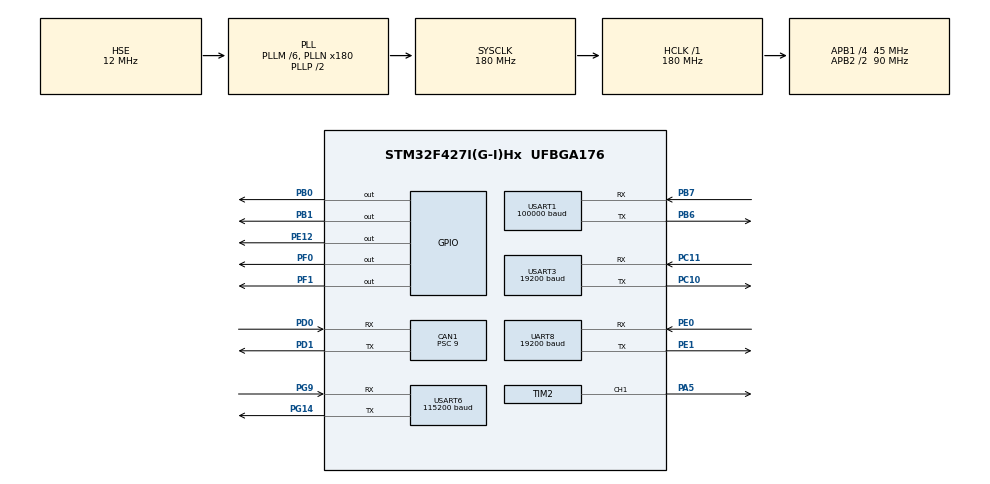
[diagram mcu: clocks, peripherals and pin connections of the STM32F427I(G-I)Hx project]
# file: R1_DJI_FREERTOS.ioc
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CAN1.BS1=CAN_BS1_3TQ
CAN1.CalculateBaudRate=1000000
CAN1.CalculateTimeBit=1000
CAN1.CalculateTimeQuantum=200.0
CAN1.Prescaler=9
Dma.Request0=USART1_RX
Dma.Request1=USART6_RX
Dma.Request2=USART3_RX
Dma.Request3=UART8_RX
Dma.UART8_RX.3.Direction=DMA_PERIPH_TO_MEMORY
Dma.UART8_RX.3.FIFOMode=DMA_FIFOMODE_DISABLE
Dma.UART8_RX.3.Instance=DMA1_Stream6
Dma.UART8_RX.3.MemDataAlignment=DMA_MDATAALIGN_BYTE
Dma.UART8_RX.3.MemInc=DMA_MINC_ENABLE
Dma.UART8_RX.3.Mode=DMA_CIRCULAR
Dma.UART8_RX.3.PeriphDataAlignment=DMA_PDATAALIGN_BYTE
Dma.UART8_RX.3.PeriphInc=DMA_PINC_DISABLE
Dma.UART8_RX.3.Priority=DMA_PRIORITY_LOW
Dma.USART1_RX.0.Direction=DMA_PERIPH_TO_MEMORY
Dma.USART1_RX.0.FIFOMode=DMA_FIFOMODE_DISABLE
Dma.USART1_RX.0.Instance=DMA2_Stream2
Dma.USART1_RX.0.MemDataAlignment=DMA_MDATAALIGN_BYTE
Dma.USART1_RX.0.MemInc=DMA_MINC_ENABLE
Dma.USART1_RX.0.Mode=DMA_CIRCULAR
Dma.USART1_RX.0.PeriphDataAlignment=DMA_PDATAALIGN_BYTE
Dma.USART1_RX.0.PeriphInc=DMA_PINC_DISABLE
Dma.USART1_RX.0.Priority=DMA_PRIORITY_LOW
Dma.USART3_RX.2.Direction=DMA_PERIPH_TO_MEMORY
Dma.USART3_RX.2.FIFOMode=DMA_FIFOMODE_DISABLE
Dma.USART3_RX.2.Instance=DMA1_Stream1
Dma.USART3_RX.2.MemDataAlignment=DMA_MDATAALIGN_BYTE
Dma.USART3_RX.2.MemInc=DMA_MINC_ENABLE
Dma.USART3_RX.2.Mode=DMA_CIRCULAR
Dma.USART3_RX.2.PeriphDataAlignment=DMA_PDATAALIGN_BYTE
Dma.USART3_RX.2.PeriphInc=DMA_PINC_DISABLE
Dma.USART3_RX.2.Priority=DMA_PRIORITY_LOW
Dma.USART6_RX.1.Direction=DMA_PERIPH_TO_MEMORY
Dma.USART6_RX.1.FIFOMode=DMA_FIFOMODE_DISABLE
Dma.USART6_RX.1.Instance=DMA2_Stream1
Dma.USART6_RX.1.MemDataAlignment=DMA_MDATAALIGN_BYTE
Dma.USART6_RX.1.MemInc=DMA_MINC_ENABLE
Dma.USART6_RX.1.Mode=DMA_CIRCULAR
Dma.USART6_RX.1.PeriphDataAlignment=DMA_PDATAALIGN_BYTE
Dma.USART6_RX.1.PeriphInc=DMA_PINC_DISABLE
Dma.USART6_RX.1.Priority=DMA_PRIORITY_LOW
Mcu.Family=STM32F4
Mcu.Name=STM32F427I(G-I)Hx
Mcu.Package=UFBGA176
NVIC.CAN1_RX0_IRQn=true\:0\:0\:false\:false\:true\:true\:true\:true
NVIC.DMA1_Stream1_IRQn=true\:0\:0\:false\:false\:true\:false\:true\:true
NVIC.DMA1_Stream6_IRQn=true\:0\:0\:false\:false\:true\:false\:true\:true
NVIC.DMA2_Stream1_IRQn=true\:0\:0\:false\:false\:true\:false\:true\:true
NVIC.DMA2_Stream2_IRQn=true\:0\:0\:false\:false\:true\:false\:true\:true
NVIC.PriorityGroup=NVIC_PRIORITYGROUP_4
NVIC.TIM2_IRQn=true\:0\:0\:false\:false\:true\:true\:true\:true
NVIC.TIM3_IRQn=true\:0\:0\:false\:false\:true\:true\:true\:true
PA13.Mode=Serial_Wire
PA13.Signal=SYS_JTMS-SWDIO
PA14.Mode=Serial_Wire
PA14.Signal=SYS_JTCK-SWCLK
PA5.Signal=S_TIM2_CH1_ETR
PB0.GPIO_PuPd=GPIO_NOPULL
PB0.Signal=GPIO_Output
PB1.Signal=GPIO_Output
PB6.Mode=Asynchronous
PB6.Signal=USART1_TX
PB7.Mode=Asynchronous
PB7.Signal=USART1_RX
PC10.Mode=Asynchronous
PC10.Signal=USART3_TX
PC11.Mode=Asynchronous
PC11.Signal=USART3_RX
PD0.Mode=CAN_Activate
PD0.Signal=CAN1_RX
PD1.Mode=CAN_Activate
PD1.Signal=CAN1_TX
PE0.Mode=Asynchronous
PE0.Signal=UART8_RX
PE1.Mode=Asynchronous
PE1.Signal=UART8_TX
PE12.PinState=GPIO_PIN_SET
PE12.Signal=GPIO_Output
PF0.Signal=GPIO_Output
PF1.Signal=GPIO_Output
PG14.Mode=Asynchronous
PG14.Signal=USART6_TX
PG9.Mode=Asynchronous
PG9.Signal=USART6_RX
PH0/OSC_IN.Mode=HSE-External-Oscillator
PH0/OSC_IN.Signal=RCC_OSC_IN
PH1/OSC_OUT.Mode=HSE-External-Oscillator
PH1/OSC_OUT.Signal=RCC_OSC_OUT
ProjectManager.HeapSize=0x200
ProjectManager.StackSize=0x400
ProjectManager.TargetToolchain=MDK-ARM V5.27
RCC.48MHZClocksFreq_Value=90000000
RCC.AHBFreq_Value=180000000
RCC.APB1CLKDivider=RCC_HCLK_DIV4
RCC.APB1Freq_Value=45000000
RCC.APB1TimFreq_Value=90000000
RCC.APB2CLKDivider=RCC_HCLK_DIV2
RCC.APB2Freq_Value=90000000
RCC.APB2TimFreq_Value=180000000
RCC.CortexFreq_Value=180000000
RCC.HCLKFreq_Value=180000000
RCC.HSE_VALUE=12000000
RCC.HSI_VALUE=16000000
RCC.LSE_VALUE=32768
RCC.PLLM=6
RCC.PLLN=180
RCC.PLLSourceVirtual=RCC_PLLSOURCE_HSE
RCC.SYSCLKFreq_VALUE=180000000
RCC.SYSCLKSource=RCC_SYSCLKSOURCE_PLLCLK
RCC.VCOOutputFreq_Value=360000000
SH.S_TIM2_CH1_ETR.0=TIM2_CH1,PWM Generation1 CH1
TIM2.AutoReloadPreload=TIM_AUTORELOAD_PRELOAD_ENABLE
TIM2.Channel-PWM\ Generation1\ CH1=TIM_CHANNEL_1
TIM2.Period=1000-1
TIM2.Prescaler=90-1
TIM2.Pulse-PWM\ Generation1\ CH1=500-1
TIM3.AutoReloadPreload=TIM_AUTORELOAD_PRELOAD_ENABLE
TIM3.Period=1000-1
TIM3.Prescaler=90-1
UART8.BaudRate=19200
UART8.VirtualMode=Asynchronous
USART1.BaudRate=100000
USART1.VirtualMode=VM_ASYNC
USART3.BaudRate=19200
USART3.VirtualMode=VM_ASYNC
USART6.BaudRate=115200
USART6.VirtualMode=VM_ASYNC
VP_TIM2_VS_ClockSourceINT.Mode=Internal
VP_TIM3_VS_ClockSourceINT.Mode=Internal
board=custom

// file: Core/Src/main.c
/* USER CODE BEGIN Header */
/**
  ******************************************************************************
  * @file           : main.c
  * @brief          : Main program body
  ******************************************************************************
  * @attention
  *
  * <h2><center>&copy; Copyright (c) 2022 STMicroelectronics.
  * All rights reserved.</center></h2>
  *
  * This software component is licensed by ST under BSD 3-Clause license,
  * the "License"; You may not use this file except in compliance with the
  * License. You may obtain a copy of the License at:
  *                        opensource.org/licenses/BSD-3-Clause
  *
  ******************************************************************************
  */
/* USER CODE END Header */
#include "main.h"
#include "can.h"
#include "dma.h"
#include "tim.h"
#include "usart.h"
#include "gpio.h"

/* USER CODE BEGIN Includes */
#include "Caculate.h"
#include "DJI.h"
#include "wtr_can.h"
#include "wtr_uart.h"
#include "nrf_com.h"
#include "RS485.h"
#include "main.h"
#include <math.h>
/* USER CODE END Includes */

/* USER CODE BEGIN PV */

int ifRecv_dji = 0;
int ifRecv_RS485 = 0;
int ifRecv_DiPan = 0;

int pwm_init = 800;

float speed = 0;
float pitch_init = 0;
float yaw_init = 0;
float fetch = 0;

float pianhang_state_zone[26] = {46.8495,-5,0,2,0,5,0,0,0,0,0,0,0,0,0,0,0,0,0,0,0,0,0,0,0,45.8495};
float yangjiao_state_zone[26] = {1,8,0,1,0,1,0,0,0,0,0,0,0,0,0,0,0,0,0,0,0,0,0,0,0,11.2};
float sheqiu_servo_zone[26]  =  {785,785,790,790,790,790,790,790,790,790,790,790,790,790,790,790,790,790,790,790,790,790,790,790,790,790};
float mocalun_speed_zone[26] =  {5000,5000,5000,5000,5000,5000,5000,5000,5000,5000,5000,5000,5000,5000,5000,5000,5000,5000,5000,5000,5000,5000,5000,5000,5000,5000};

float fetch_state = 0;
float mocalun_state = 0;

uint32_t time = 0;
uint32_t enter_time = 0;

//parameters for sheqiu
uint32_t sj_time = 300;
uint32_t zz_time = 1000;
uint32_t waiting_time = 1000;

//parameter for quqiu
uint32_t sj_time_1 = 1500;
uint32_t zz_time_1 = 1000;
uint32_t waiting_time_1 = 800;
float close_speed_1 = -150;
float open_speed_1 = 180;

float open_pos = 22;
float close_pos = -12;

uint32_t rs_decode_strart = 0;

char flag = 0;
uint32_t state = 0;
uint32_t last_state = 0;
/* USER CODE END PV */

void SystemClock_Config(void);

/* USER CODE BEGIN 0 */
void zz_sj_servo(float ref_rs_decode);
/* USER CODE END 0 */

int main(void)
{

  /* MCU Configuration--------------------------------------------------------*/

  /* Reset of all peripherals, Initializes the Flash interface and the Systick. */
  HAL_Init();

  /* Configure the system clock */
  SystemClock_Config();

  /* Initialize all configured peripherals */
  MX_GPIO_Init();
  MX_DMA_Init();
  MX_CAN1_Init();
  MX_USART1_UART_Init();
  MX_USART6_UART_Init();
  MX_TIM2_Init();
  MX_TIM3_Init();
  MX_USART3_UART_Init();
  MX_UART8_Init();
  /* USER CODE BEGIN 2 */
 CANFilterInit(&hcan1);

	hDJI[0].motorType = M3508;
	hDJI[1].motorType = M3508;
	hDJI[2].motorType = M3508;
	hDJI[3].motorType = M3508;
	hDJI[4].motorType = M3508;
	hDJI[5].motorType = M3508;
	hDJI[6].motorType = M2006;
	hDJI[7].motorType = M3508;

	DJI_Init();

  HAL_UART_Receive_DMA(&huart1,JoyStickReceiveData,18);

	nrf_receive_init();

	HAL_TIM_Base_Start_IT(&htim2);
	HAL_TIM_Base_Start_IT(&htim3);

	HAL_TIM_PWM_Start(&htim2,TIM_CHANNEL_1);
	__HAL_TIM_SetCompare(&htim2, TIM_CHANNEL_1, pwm_init);

	HAL_GPIO_WritePin(GPIOE,GPIO_PIN_12,GPIO_PIN_SET);

  RS485_init();
  /* USER CODE END 2 */

  /* Infinite loop */
  /* USER CODE BEGIN WHILE */
    while (1)
  {
		while(ifRecv_dji==0)
    {
    }
		if(state == 0)
		{
     	if((Raw_Data.ch2-1024)>100) pitch_init += 0.05f;/*==================================================================*/
			if((Raw_Data.ch2-1024)<-100) pitch_init -= 0.05f;/*==================================================================*/
			if((Raw_Data.ch3-1024)>100) yaw_init -= 0.1f;/*==================================================================*/
			if((Raw_Data.ch3-1024)<-100) yaw_init += 0.1f;/*==================================================================*/

			if((Raw_Data.ch0-1024)>100)
			{
				fetch = 150;/*==================================================================*/
				speedServo(fetch,&hDJI[4]);
			}
				else if((Raw_Data.ch0-1024)<-100)
			{
				fetch = -150;/*==================================================================*/
				speedServo(fetch,&hDJI[4]);
			}
			else
			{
				fetch = 0;/*==================================================================*/
				speedServo(fetch,&hDJI[4]);
			}

			if((Raw_Data.ch1-1024)>100)
			{
				HAL_GPIO_WritePin(GPIOB,GPIO_PIN_0,GPIO_PIN_RESET);
				HAL_GPIO_WritePin(GPIOB,GPIO_PIN_1,GPIO_PIN_SET);
			}
			else if((Raw_Data.ch1-1024)<-100)
			{
				HAL_GPIO_WritePin(GPIOB,GPIO_PIN_0,GPIO_PIN_SET);
				HAL_GPIO_WritePin(GPIOB,GPIO_PIN_1,GPIO_PIN_RESET);
			}
			else
			{
				HAL_GPIO_WritePin(GPIOB,GPIO_PIN_0,GPIO_PIN_RESET);
				HAL_GPIO_WritePin(GPIOB,GPIO_PIN_1,GPIO_PIN_RESET);
			}

			positionServo(yaw_init,&hDJI[5]);
			positionServo(pitch_init,&hDJI[6]);

			if(Raw_Data.right == 1) speed = 5000;
			else speed = 0;

			speedServo(speed,&hDJI[0]);
			speedServo(speed,&hDJI[1]);
			speedServo(-speed,&hDJI[2]);
			speedServo(-speed,&hDJI[3]);
		}
    //执行射球
    else if(state == 2){
			speedServo(mocalun_state,&hDJI[0]);
			speedServo(mocalun_state,&hDJI[1]);
			speedServo(-mocalun_state,&hDJI[2]);
			speedServo(-mocalun_state,&hDJI[3]);
			positionServo(fetch_state,&hDJI[4]);

			positionServo(yangjiao_state_zone[zone]+yaw_init,&hDJI[5]);
			positionServo(pianhang_state_zone[zone]+pitch_init,&hDJI[6]);

		}
		//执行取球操作
		else if(state == 1){
			speedServo(0,&hDJI[0]);
			speedServo(0,&hDJI[1]);
			speedServo(0,&hDJI[2]);
			speedServo(0,&hDJI[3]);
			positionServo(fetch_state,&hDJI[4]);
			positionServo(yaw_init,&hDJI[5]);
			positionServo(pitch_init,&hDJI[6]);
			// positionServo(0,&hDJI[7]);
		}
		else if(state == 3)
		{
			speedServo(0,&hDJI[0]);
			speedServo(0,&hDJI[1]);
			speedServo(-0,&hDJI[2]);
			speedServo(-0,&hDJI[3]);
			positionServo(-8,&hDJI[4]);
			HAL_GPIO_WritePin(GPIOB,GPIO_PIN_0,GPIO_PIN_RESET);
      HAL_GPIO_WritePin(GPIOB,GPIO_PIN_1,GPIO_PIN_RESET);
			positionServo(yaw_init,&hDJI[5]);
			positionServo(pitch_init,&hDJI[6]);
		}

		CanTransmit_DJI_1234(&hcan1,
                             hDJI[0].speedPID.output,
                             hDJI[1].speedPID.output,
                             hDJI[2].speedPID.output,
                             hDJI[3].speedPID.output);

		CanTransmit_DJI_5678(&hcan1,
                             hDJI[4].speedPID.output,
                             hDJI[5].speedPID.output,
                             hDJI[6].speedPID.output,
                             hDJI[7].speedPID.output);

    /* USER CODE END WHILE */

    /* USER CODE BEGIN 3 */
		HAL_Delay(1);
  }
  /* USER CODE END 3 */
}

void SystemClock_Config(void)
{
  RCC_OscInitTypeDef RCC_OscInitStruct = {0};
  RCC_ClkInitTypeDef RCC_ClkInitStruct = {0};

  /** Configure the main internal regulator output voltage
  */
  __HAL_RCC_PWR_CLK_ENABLE();
  __HAL_PWR_VOLTAGESCALING_CONFIG(PWR_REGULATOR_VOLTAGE_SCALE1);

  /** Initializes the RCC Oscillators according to the specified parameters
  * in the RCC_OscInitTypeDef structure.
  */
  RCC_OscInitStruct.OscillatorType = RCC_OSCILLATORTYPE_HSE;
  RCC_OscInitStruct.HSEState = RCC_HSE_ON;
  RCC_OscInitStruct.PLL.PLLState = RCC_PLL_ON;
  RCC_OscInitStruct.PLL.PLLSource = RCC_PLLSOURCE_HSE;
  RCC_OscInitStruct.PLL.PLLM = 6;
  RCC_OscInitStruct.PLL.PLLN = 180;
  RCC_OscInitStruct.PLL.PLLP = RCC_PLLP_DIV2;
  RCC_OscInitStruct.PLL.PLLQ = 4;
  if (HAL_RCC_OscConfig(&RCC_OscInitStruct) != HAL_OK)
  {
    Error_Handler();
  }

  /** Activate the Over-Drive mode
  */
  if (HAL_PWREx_EnableOverDrive() != HAL_OK)
  {
    Error_Handler();
  }

  /** Initializes the CPU, AHB and APB buses clocks
  */
  RCC_ClkInitStruct.ClockType = RCC_CLOCKTYPE_HCLK|RCC_CLOCKTYPE_SYSCLK
                              |RCC_CLOCKTYPE_PCLK1|RCC_CLOCKTYPE_PCLK2;
  RCC_ClkInitStruct.SYSCLKSource = RCC_SYSCLKSOURCE_PLLCLK;
  RCC_ClkInitStruct.AHBCLKDivider = RCC_SYSCLK_DIV1;
  RCC_ClkInitStruct.APB1CLKDivider = RCC_HCLK_DIV4;
  RCC_ClkInitStruct.APB2CLKDivider = RCC_HCLK_DIV2;

  if (HAL_RCC_ClockConfig(&RCC_ClkInitStruct, FLASH_LATENCY_5) != HAL_OK)
  {
    Error_Handler();
  }
}

/* USER CODE BEGIN 4 */
void HAL_UART_RxCpltCallback(UART_HandleTypeDef *huart){

   if(huart->Instance == huart1.Instance){
       ifRecv_dji = 1;
       UART1Decode();
    }

		if(huart->Instance == huart6.Instance)
    {
      ifRecv_DiPan = 1;
      nrf_decode();
    }

    if(huart->Instance == huart8.Instance)
    {
      ifRecv_RS485 = 1;
      RS485_decode();
    }
}
void zz_sj_servo(float ref_rs_decode)
{
  //when rsdecode_exp = ref_rs_decode
            if(rs_decode < ref_rs_decode-2)//up
            {
              if(fabs(rs_decode - rs_decode_strart)<200 || fabs(rs_decode-ref_rs_decode)<200) __HAL_TIM_SetCompare(&htim2, TIM_CHANNEL_1, pwm_init);
              else __HAL_TIM_SetCompare(&htim2, TIM_CHANNEL_1, 999);
            HAL_GPIO_WritePin(GPIOB,GPIO_PIN_0,GPIO_PIN_RESET);
            HAL_GPIO_WritePin(GPIOB,GPIO_PIN_1,GPIO_PIN_SET);
            }
            else if(rs_decode > ref_rs_decode+2)//down
            {
              if(fabs(rs_decode - rs_decode_strart)<200 || fabs(rs_decode-ref_rs_decode)<200) __HAL_TIM_SetCompare(&htim2, TIM_CHANNEL_1, 399);
              else __HAL_TIM_SetCompare(&htim2, TIM_CHANNEL_1, 499);
            HAL_GPIO_WritePin(GPIOB,GPIO_PIN_0,GPIO_PIN_SET);
            HAL_GPIO_WritePin(GPIOB,GPIO_PIN_1,GPIO_PIN_RESET);
            }
            else//stop
            {
            HAL_GPIO_WritePin(GPIOB,GPIO_PIN_0,GPIO_PIN_RESET);
            HAL_GPIO_WritePin(GPIOB,GPIO_PIN_1,GPIO_PIN_RESET);
            }
}
/* USER CODE END 4 */
void HAL_TIM_PeriodElapsedCallback(TIM_HandleTypeDef *htim)
{
  /* USER CODE BEGIN Callback 0 */
	/*维护系统时钟系统*/
  if (htim == (&htim2))
	{
		time++;
	}
  /*有限�?*/
	if (htim == (&htim3))
	{
			if((Raw_Data.right == 2 && state == 0) || ((button_E == 1 || button_F == 1) && button_C == 1 && state == 0))
      //if((button_E == 1 || button_F == 1) && button_C == 1 && state == 0)
      {
        enter_time = time;
				state = 1;
			}
      if((Raw_Data.right == 1 && state == 0) || ((button_E == 1 || button_F == 1) && button_B == 1 && state == 0))
      //if((button_E == 1 || button_F == 1) && button_B == 1 && state == 0)
      {
        enter_time = time;
				state = 2;
			}
	}

		if(state == 3)
		{
      if((Raw_Data.left == 1) || ((button_E == 1 || button_F == 1) && button_B == 1 && state == 3))
      //if((button_E == 1 || button_F == 1) && button_B == 1 && state == 3)
      {
        enter_time = time;
				state = 2;
			}
		}

        if(state == 2)
					{
          float mocalun_speed = 0;
          float sheqiu_servo = 395;

          mocalun_speed = mocalun_speed_zone[zone];
          sheqiu_servo = sheqiu_servo_zone[zone];

          if((time - enter_time)<(500))
          {
            mocalun_state = 0;
            fetch_state = close_pos;
            if((time - enter_time)<(1)) rs_decode_strart = rs_decode;
            zz_sj_servo(720);
          }
          else if((time - enter_time)<(zz_time+500))//open mocalun and open the zhuazi
          {
            mocalun_state = mocalun_speed;
            fetch_state = close_pos;
            HAL_GPIO_WritePin(GPIOB,GPIO_PIN_0,GPIO_PIN_RESET);
            HAL_GPIO_WritePin(GPIOB,GPIO_PIN_1,GPIO_PIN_RESET);
          }
          else if((time - enter_time)<(zz_time+sj_time+500))//up shenjiang
          {
            mocalun_state = mocalun_speed;
            fetch_state = close_pos;
            if((time - enter_time)<(zz_time+500+1)) rs_decode_strart = rs_decode;
            zz_sj_servo(sheqiu_servo);
          }
          else if((time - enter_time)<(zz_time+sj_time+waiting_time+500))//wait for shooting
          {
            mocalun_state = mocalun_speed;
            fetch_state = close_pos;
            HAL_GPIO_WritePin(GPIOB,GPIO_PIN_0,GPIO_PIN_RESET);
            HAL_GPIO_WritePin(GPIOB,GPIO_PIN_1,GPIO_PIN_RESET);
          }
          else if((time - enter_time)<(zz_time+sj_time+waiting_time+zz_time+500))//down shenjiang and open the zhuazi
          {
            mocalun_state = 0;
            fetch_state = close_pos;
            if((time - enter_time)<(zz_time+sj_time+waiting_time+1+500)) rs_decode_strart = rs_decode;
            zz_sj_servo(665);
          }
					else if((time - enter_time)<(zz_time+sj_time+waiting_time+zz_time+500+500))//down shenjiang and open the zhuazi
          {
            mocalun_state = 0;
            fetch_state = open_pos;
            HAL_GPIO_WritePin(GPIOB,GPIO_PIN_0,GPIO_PIN_RESET);
            HAL_GPIO_WritePin(GPIOB,GPIO_PIN_1,GPIO_PIN_RESET);
          }
          else{
						fetch_state = open_pos;
            last_state = state;
            state = 0;
          }
			    }

    else if(state == 1)
					{
          if((time - enter_time)<(500))
          {
            fetch_state = open_pos;
            if((time - enter_time)<(1)) rs_decode_strart = rs_decode;
            zz_sj_servo(570);
          }
          else if((time - enter_time)<(zz_time_1+500))//close zhuazi
          {
            fetch_state = close_pos;
            HAL_GPIO_WritePin(GPIOB,GPIO_PIN_0,GPIO_PIN_RESET);
            HAL_GPIO_WritePin(GPIOB,GPIO_PIN_1,GPIO_PIN_RESET);
          }
          else if((time - enter_time)<(zz_time_1+sj_time_1+500))//up shenjiang
          {
            fetch_state = close_pos;
            if((time - enter_time)<(zz_time_1+1+500)) rs_decode_strart = rs_decode;
            zz_sj_servo(720);
          }
          else{
						fetch_state = close_pos;
            last_state = state;
            state = 3;
            flag = 0;
          }
			    }

	}

void Error_Handler(void)
{
  __disable_irq();
  while (1)
  {
  }
}
